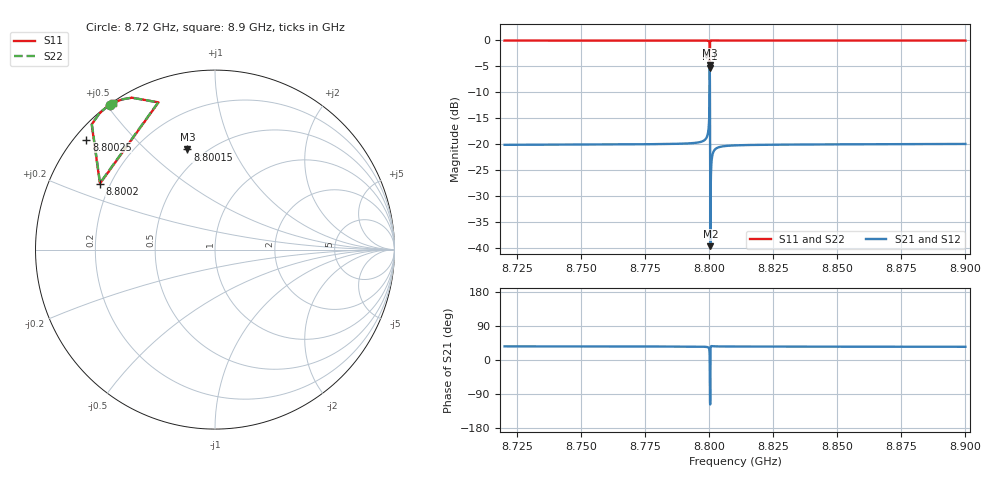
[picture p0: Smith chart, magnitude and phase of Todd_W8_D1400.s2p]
! Sonnet Data File
! From: emgraph Version : 16.52
! From Project: transmon_brgOdd
! Data is De-embedded
! Data File Written: 11/11/2017 22:28:47
!< HDATE 11/11/2017 18:22:48
!< MDATE 11/11/2017 18:22:48
!< PARAMS
!< Lj = 15.24
!< Gap = 6.0
!< Width = 10.0
!< Airgap = 6.0
!< Pwidth = 2000.0
!< Dist = 1400.0
!< END PARAMS
# GHZ S MA R 34.67000
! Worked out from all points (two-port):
!   3601 points, 8.72 GHz to 8.9 GHz, reference 34.67 ohm
!   highest |S21| = -5.36 dB at 8.80015 GHz (marker M1); lowest = -39.7 dB at 8.8004 GHz (marker M2)
!   |S21| within 3 dB of the highest: 8.80011 GHz to 8.8002 GHz (89.96 kHz wide, 0.00102 % of centre)
!   lowest |S11| = -4.7 dB at 8.80015 GHz (marker M3), VSWR 3.75, Z = 14 + j23.6 ohm
!   |S11| at or under -10 dB: nowhere
!   |S22| runs from -4.7 to 0.0 dB; largest |S21 - S12| = 0
!   S11 on the Smith chart (normalised r, x): 8.72 GHz: 0.00, +0.51; 8.80015 GHz: 0.41, +0.68; 8.8002 GHz: 0.16, +0.26; 8.80025 GHz: 0.03, +0.37; 8.9 GHz: 0.00, +0.52
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8.72  0.9952 126.0  0.09824 36.0  0.09824 36.0  0.9952 126.0
!< P1 F=8.72 Eeff=(5.13609477 -5.6761e-5) Z0=(34.6490765 -9.5162e-5) R=0.0 C=0.0
!< P2 F=8.72 Eeff=(5.13609477 -5.6761e-5) Z0=(34.6490765 -9.5162e-5) R=0.0 C=0.0
8.75  0.9951 125.8  0.0988 35.8  0.0988 35.8  0.9951 125.8
8.78  0.995 125.6  0.09982 35.5  0.09982 35.5  0.995 125.5
8.79685  0.9944 125.2  0.1053 35.1  0.1053 35.1  0.9944 125.1
8.7987  0.9934 124.7  0.1132 34.6  0.1132 34.6  0.9934 124.7
8.79905  0.9928 124.4  0.1176 34.3  0.1176 34.3  0.9928 124.4
8.79935  0.9917 124.0  0.1244 33.8  0.1244 33.8  0.9917 124.0
8.79965  0.989 123.2  0.1388 32.7  0.1388 32.7  0.9891 123.2
8.80015  0.5788 105.4  0.5392 -21.1  0.5392 -21.1  0.5813 105.6
8.8002  0.7388 150.2  0.3837 -87.4  0.3837 -87.4  0.7404 149.9
8.80025  0.9422 139.5  0.1508 -112.3  0.1508 -112.3  0.9426 139.3
8.8004  0.9936 130.7  0.01036 2.9  0.01036 2.9  0.9936 130.7
8.8009  0.9969 127.2  0.07035 36.6  0.07035 36.6  0.9969 127.1
8.80105  0.9967 126.9  0.07525 36.5  0.07525 36.5  0.9967 126.8
8.8012  0.9966 126.7  0.07873 36.4  0.07873 36.4  0.9966 126.6
8.8014  0.9964 126.5  0.08204 36.3  0.08204 36.3  0.9964 126.4
8.80165  0.9962 126.3  0.08493 36.2  0.08493 36.2  0.9962 126.3
8.80265  0.9958 126.0  0.09065 35.9  0.09065 35.9  0.9958 125.9
8.81  0.9953 125.6  0.09706 35.5  0.09706 35.5  0.9953 125.5
8.84  0.9951 125.3  0.09906 35.3  0.09906 35.3  0.9951 125.2
8.87  0.995 125.1  0.09969 35.1  0.09969 35.1  0.995 125.0
8.9  0.995 124.9  0.1002 34.9  0.1002 34.9  0.995 124.8
